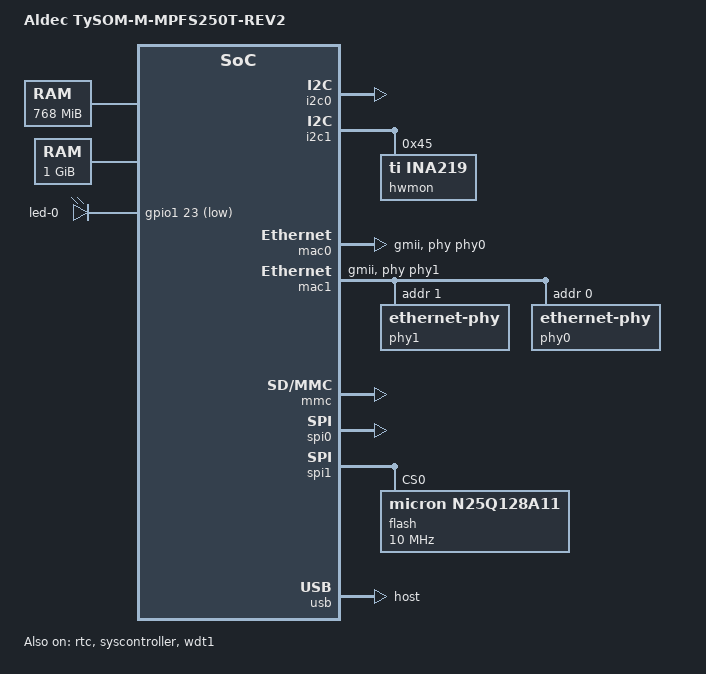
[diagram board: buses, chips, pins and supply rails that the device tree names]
// SPDX-License-Identifier: GPL-2.0
/*
 * Original all-in-one devicetree:
 * Copyright (C) 2020-2022 - Aldec
 * Rewritten to use includes:
 * Copyright (C) 2022 - Conor Dooley <conor.dooley@microchip.com>
 */

/dts-v1/;

#include "mpfs.dtsi"
#include "mpfs-tysom-m-fabric.dtsi"

/ {
	model = "Aldec TySOM-M-MPFS250T-REV2";
	compatible = "aldec,tysom-m-mpfs250t-rev2", "microchip,mpfs";

	soc {
		dma-ranges = <0 0 0 0 0x40 0>;
	};

	aliases {
		ethernet0 = &mac0;
		ethernet1 = &mac1;
		serial0 = &mmuart0;
		serial1 = &mmuart1;
		serial2 = &mmuart2;
		serial3 = &mmuart3;
		serial4 = &mmuart4;
		gpio0 = &gpio0;
		gpio1 = &gpio2;
	};

	chosen {
		stdout-path = "serial1:115200n8";
	};

	ddrc_cache_lo: memory@80000000 {
		device_type = "memory";
		reg = <0x0 0x80000000 0x0 0x30000000>;
	};

	ddrc_cache_hi: memory@1000000000 {
		device_type = "memory";
		reg = <0x10 0x0 0x0 0x40000000>;
	};

	leds {
		compatible = "gpio-leds";
		led-0 {
			gpios = <&gpio1 23 1>;
			default-state = "on";
			linux,default-trigger = "heartbeat";
		};
	};
};

&i2c0 {
	status = "okay";
};

&i2c1 {
	status = "okay";
	hwmon: hwmon@45 {
		compatible = "ti,ina219";
		reg = <0x45>;
		shunt-resistor = <2000>;
	};
};

&gpio1 {
	status = "okay";
};

&mac0 {
	status = "okay";
	phy-mode = "gmii";
	phy-handle = <&phy0>;

};

&mac1 {
	status = "okay";
	phy-mode = "gmii";
	phy-handle = <&phy1>;
	phy1: ethernet-phy@1 {
		reg = <1>;
	};
	phy0: ethernet-phy@0 {
		reg = <0>;
	};
};

&mbox {
	status = "okay";
};

&mmc {
	max-frequency = <200000000>;
	cap-mmc-highspeed;
	cap-sd-highspeed;
	no-1-8-v;
	disable-wp;
	status = "okay";
};

&mmuart1 {
	status = "okay";
};

&mmuart2 {
	status = "okay";
};

&mmuart3 {
	status = "okay";
};

&mmuart4 {
	status = "okay";
};

&refclk {
	clock-frequency = <125000000>;
};

&rtc {
	status = "okay";
};

&spi0 {
	status = "okay";
};

&spi1 {
	status = "okay";
	flash@0 {
		compatible = "micron,n25q128a11", "jedec,spi-nor";
		reg = <0x0>;
		spi-max-frequency = <10000000>;
		status = "okay";
	};
};

&syscontroller {
	status = "okay";
};

&usb {
	status = "okay";
	dr_mode = "host";
};

&wdt1 {
	status = "okay";
};
